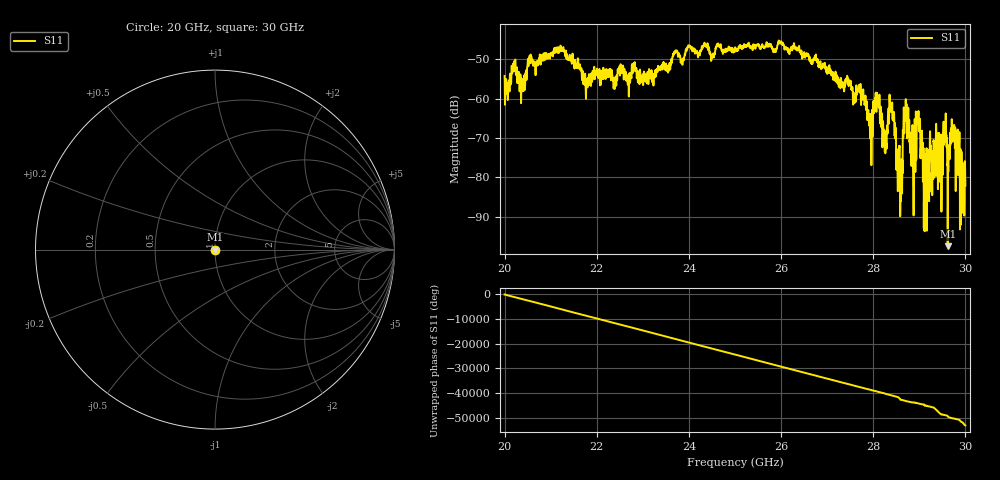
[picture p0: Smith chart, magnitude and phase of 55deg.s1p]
#  HZ  S  RI  R  50.00
! Rohde & Schwarz ZVA40 4Ports - Version 3.90 - 1145.1110k42 SN: 100403
! Date: 2023-10-03 10:50:00
! Measurement: S12
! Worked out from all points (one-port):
!   5001 points, 20 GHz to 30 GHz, reference 50 ohm
!   lowest |S11| = -97.4 dB at 29.62 GHz (marker M1), VSWR 1.00, Z = 50 - j0.000903 ohm
!   |S11| at or under -10 dB: start of sweep to end of sweep
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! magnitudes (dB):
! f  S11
! 20 GHz  -54.2
! 20.09 GHz  -55.8
! 20.22 GHz  -52.3
! 20.4 GHz  -57.4
! 20.55 GHz  -49.5
! 21.25 GHz  -47.9
! 21.75 GHz  -54.7
! 22.5 GHz  -52.6
! 23.21 GHz  -53.8
! 23.75 GHz  -48.1
! 25 GHz  -47.0
! 26.25 GHz  -47.0
! 27.5 GHz  -56.4
! 27.74 GHz  -61.0
! 27.94 GHz  -65.3
! 28.09 GHz  -60.2
! 28.25 GHz  -71.4
! 28.4 GHz  -62.7
! 28.58 GHz  -75.8
! 28.69 GHz  -64.2
! 28.75 GHz  -64.8
! 28.84 GHz  -73.7
! 28.97 GHz  -65.8
! 29.15 GHz  -79.5
! 29.54 GHz  -68.1
! 29.62 GHz  -97.4
! 29.73 GHz  -70.4
! 30 GHz  -82.0
